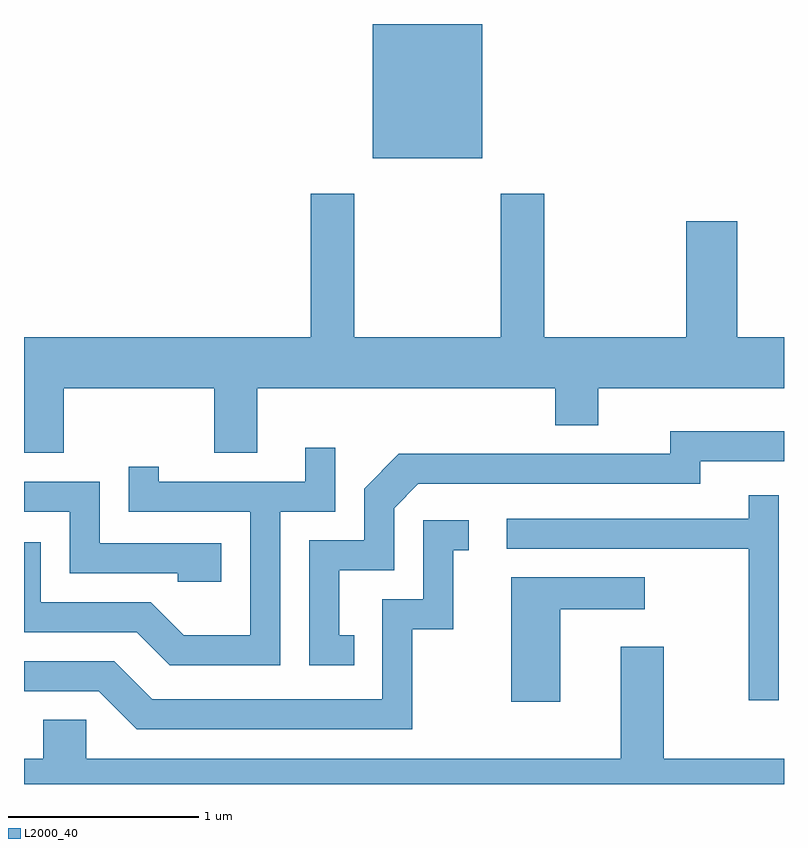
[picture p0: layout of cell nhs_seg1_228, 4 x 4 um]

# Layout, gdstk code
import gdstk
lib = gdstk.Library(unit=1e-6, precision=1e-09)
def R(c, l, rs):  # rectangles x0, y0, x1, y1
    for r in rs: c.add(gdstk.rectangle(r[:2], r[2:], *l))
def P(c, l, *ps):  # polygons
    for p in ps: c.add(gdstk.Polygon(p, *l))
L2000_40 = (2000, 40)

nhs_seg1_228 = lib.new_cell('nhs_seg1_228')
R(nhs_seg1_228, L2000_40, [(193.446,903.006,194.024,903.712)])
P(nhs_seg1_228, L2000_40, [(191.819,901.796),(192.611,901.796),(192.611,901.456),(192.839,901.456),(192.839,901.796),(194.406,901.796),(194.406,901.601),(194.634,901.601),(194.634,901.796),(195.611,901.796),(195.611,902.064),(195.364,902.064),(195.364,902.674),(195.096,902.674),(195.096,902.064),(194.349,902.064),(194.349,902.819),(194.121,902.819),(194.121,902.064),(193.349,902.064),(193.349,902.819),(193.121,902.819),(193.121,902.064),(191.611,902.064),(191.611,901.456),(191.819,901.456)],
  [(193.348,900.494),(193.269,900.494),(193.269,900.836),(193.559,900.836),(193.559,901.164),(193.687,901.291),(195.169,901.291),(195.169,901.411),(195.611,901.411),(195.611,901.569),(195.011,901.569),(195.011,901.449),(193.584,901.449),(193.401,901.267),(193.401,900.994),(193.111,900.994),(193.111,900.336),(193.348,900.336)],
  [(192.959,901.146),(193.249,901.146),(193.249,901.483),(193.091,901.483),(193.091,901.304),(192.319,901.304),(192.319,901.383),(192.161,901.383),(192.161,901.146),(192.801,901.146),(192.801,900.494),(192.452,900.494),(192.277,900.669),(191.699,900.669),(191.699,900.984),(191.611,900.984),(191.611,900.511),(192.204,900.511),(192.379,900.336),(192.959,900.336)],
  [(192.649,900.979),(192.009,900.979),(192.009,901.304),(191.611,901.304),(191.611,901.146),(191.851,901.146),(191.851,900.821),(192.421,900.821),(192.421,900.776),(192.649,900.776)],
  [(195.584,901.233),(195.426,901.233),(195.426,901.109),(194.153,901.109),(194.153,900.951),(195.426,900.951),(195.426,900.153),(195.584,900.153)],
  [(193.654,900.526),(193.869,900.526),(193.869,900.941),(193.953,900.941),(193.953,901.099),(193.711,901.099),(193.711,900.684),(193.496,900.684),(193.496,900.159),(192.287,900.159),(192.087,900.359),(191.611,900.359),(191.611,900.201),(192.004,900.201),(192.204,900.001),(193.654,900.001)],
  [(194.434,900.631),(194.878,900.631),(194.878,900.799),(194.176,900.799),(194.176,900.146),(194.434,900.146)],
  [(195.611,899.844),(194.979,899.844),(194.979,900.434),(194.751,900.434),(194.751,899.844),(191.939,899.844),(191.939,900.049),(191.711,900.049),(191.711,899.844),(191.611,899.844),(191.611,899.712),(195.611,899.712)])

lib.write_gds('nhs_seg1_228.gds')
